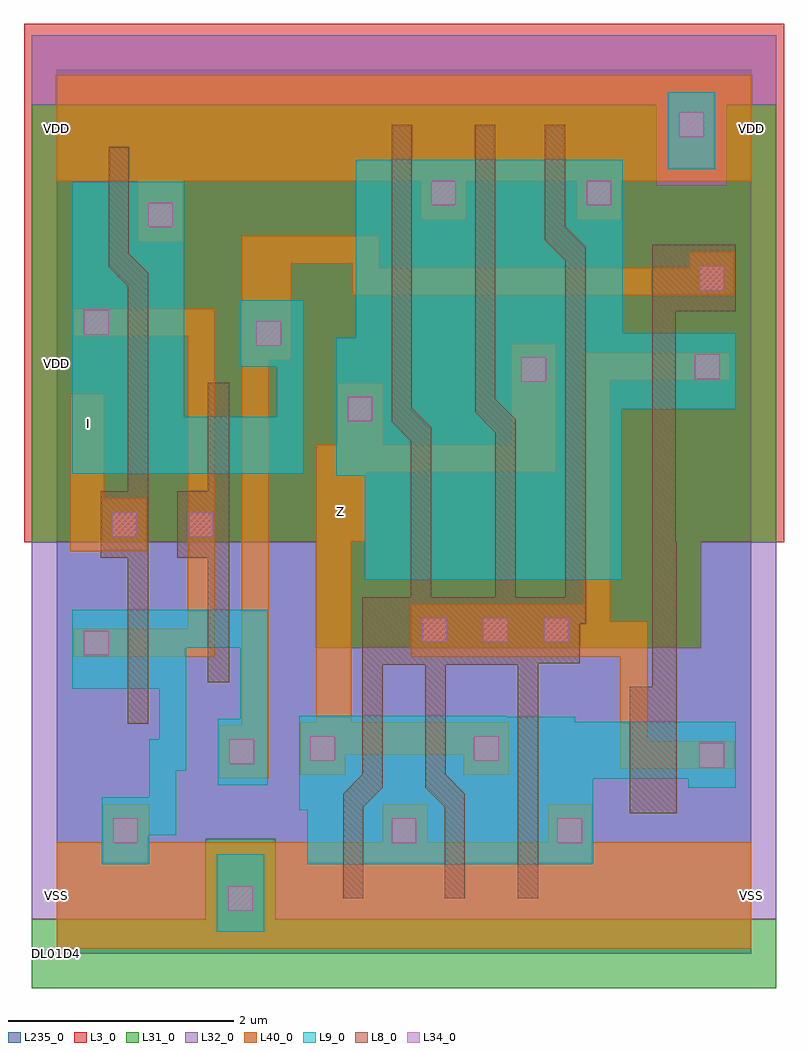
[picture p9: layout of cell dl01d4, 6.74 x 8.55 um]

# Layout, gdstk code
import gdstk
lib = gdstk.Library(unit=1e-6, precision=1e-09)
def R(c, l, rs):  # rectangles x0, y0, x1, y1
    for r in rs: c.add(gdstk.rectangle(r[:2], r[2:], *l))
def A(c, l, x, y, w, h, nx, ny, dx, dy):  # array of equal rectangles
    R(c, l, [(x+i*dx, y+j*dy, x+i*dx+w, y+j*dy+h) for i in range(nx) for j in range(ny)])
def P(c, l, *ps):  # polygons
    for p in ps: c.add(gdstk.Polygon(p, *l))
L3_0 = (3, 0)
L8_0 = (8, 0)
L9_0 = (9, 0)
L31_0 = (31, 0)
L32_0 = (32, 0)
L34_0 = (34, 0)
L40_0 = (40, 0)
L235_0 = (235, 0)

dl01d4 = lib.new_cell('dl01d4')
P(dl01d4, L3_0, [(6.45,8.245),(6.45,3.65),(5.71,3.65),(5.71,2.715),(2.3,2.715),(2.3,3.65),(-0.29,3.65),(-0.29,8.245)])
P(dl01d4, L8_0, [(2.72,1.3),(2.89,1.47),(2.89,2.56),(3.27,2.56),(3.27,1.47),(3.44,1.3),(3.44,0.49),(3.62,0.49),(3.62,1.42),(3.45,1.59),(3.45,2.56),(4.09,2.56),(4.09,0.49),(4.27,0.49),(4.27,2.575),(4.64,2.575),(4.64,2.925),(4.69,2.925),(4.69,6.27),(4.51,6.45),(4.51,7.35),(4.33,7.35),(4.33,6.325),(4.51,6.145),(4.51,3.16),(4.07,3.16),(4.07,4.74),(3.89,4.92),(3.89,7.35),(3.71,7.35),(3.71,4.8),(3.89,4.62),(3.89,3.16),(3.32,3.16),(3.32,4.67),(3.15,4.84),(3.15,7.35),(2.97,7.35),(2.97,4.715),(3.14,4.545),(3.14,3.16),(2.71,3.16),(2.71,1.59),(2.54,1.42),(2.54,0.49),(2.72,0.49)],
  [(0.81,6.04),(0.64,6.21),(0.64,7.15),(0.46,7.15),(0.46,6.09),(0.63,5.92),(0.63,4.1),(0.39,4.1),(0.39,3.51),(0.63,3.51),(0.63,2.04),(0.81,2.04)],
  [(5.5,3.65),(5.49,3.65),(5.49,5.695),(6.02,5.695),(6.02,6.285),(5.28,6.285),(5.28,2.365),(5.08,2.365),(5.08,1.245),(5.5,1.245)],
  [(1.53,5.065),(1.34,5.065),(1.34,4.1),(1.07,4.1),(1.07,3.51),(1.34,3.51),(1.34,2.405),(1.53,2.405)])
R(dl01d4, L9_0, [(1.42,0.195,1.84,0.88), (5.42,6.955,5.84,7.64)])
P(dl01d4, L9_0, [(3.99,2.11),(3.99,2.1),(4.6,2.1),(4.6,2.055),(6.02,2.055),(6.02,1.47),(5.6,1.47),(5.6,1.55),(4.76,1.55),(4.76,0.795),(2.22,0.795),(2.22,1.27),(2.15,1.27),(2.15,2.11)],
  [(1.87,3.05),(1.87,1.495),(1.43,1.495),(1.43,2.085),(1.63,2.085),(1.63,2.715),(1.15,2.715),(1.15,1.62),(1.06,1.62),(1.06,1.05),(0.82,1.05),(0.82,0.795),(0.4,0.795),(0.4,1.385),(0.82,1.385),(0.82,1.9),(0.91,1.9),(0.91,2.35),(0.14,2.35),(0.14,3.05)],
  [(1.13,6.845),(1.13,4.76),(1.95,4.76),(1.95,5.205),(1.63,5.205),(1.63,5.795),(2.19,5.795),(2.19,4.255),(0.14,4.255),(0.14,6.845)],
  [(5.02,7.04),(5.02,5.5),(6.02,5.5),(6.02,4.83),(5.01,4.83),(5.01,3.315),(2.73,3.315),(2.73,4.24),(2.48,4.24),(2.48,5.46),(2.65,5.46),(2.65,7.04)])
P(dl01d4, L31_0, [(1.94,1.02),(1.94,0.305),(6.38,0.305),(6.38,-0.305),(-0.22,-0.305),(-0.22,0.305),(1.32,0.305),(1.32,1.02)],
  [(6.38,7.53),(6.38,3.65),(5.71,3.65),(5.71,2.715),(2.3,2.715),(2.3,3.65),(-0.22,3.65),(-0.22,7.53),(5.32,7.53),(5.32,6.815),(5.94,6.815),(5.94,7.53)])
P(dl01d4, L32_0, [(6.38,3.65),(6.38,0.305),(1.94,0.305),(1.94,1.02),(1.32,1.02),(1.32,0.305),(-0.22,0.305),(-0.22,3.65),(2.3,3.65),(2.3,2.715),(5.71,2.715),(5.71,3.65)],
  [(6.38,8.145),(6.38,7.53),(5.94,7.53),(5.94,6.815),(5.32,6.815),(5.32,7.53),(-0.22,7.53),(-0.22,8.145)])
A(dl01d4, L34_0, 3.24, 2.76, 0.22, 0.22, 3, 1, 0.54, 0)
R(dl01d4, L34_0, [(1.52,0.38,1.74,0.6), (0.5,0.98,0.72,1.2), (2.97,0.98,3.19,1.2), (4.44,0.98,4.66,1.2), (5.7,1.65,5.92,1.87), (1.53,1.68,1.75,1.9), (2.25,1.71,2.47,1.93), (3.7,1.71,3.92,1.93), (0.24,2.645,0.46,2.865), (0.49,3.695,0.71,3.915), (1.17,3.695,1.39,3.915), (2.58,4.72,2.8,4.94), (4.12,5.07,4.34,5.29), (5.66,5.095,5.88,5.315), (1.77,5.39,1.99,5.61), (0.24,5.49,0.46,5.71), (5.7,5.88,5.92,6.1), (0.81,6.44,1.03,6.66), (3.32,6.635,3.54,6.855), (4.7,6.635,4.92,6.855), (5.52,7.24,5.74,7.46)])
P(dl01d4, L40_0, [(0,6.85),(0.72,6.85),(0.72,6.315),(1.12,6.315),(1.12,6.85),(3.23,6.85),(3.23,6.51),(3.63,6.51),(3.63,6.85),(4.61,6.85),(4.61,6.51),(5.01,6.51),(5.01,6.85),(6.16,6.85),(6.16,7.79),(0,7.79)],
  [(1.64,6.365),(1.64,2.025),(1.44,2.025),(1.44,1.555),(1.88,1.555),(1.88,5.265),(2.08,5.265),(2.08,6.12),(2.62,6.12),(2.62,5.84),(6.01,5.84),(6.01,6.225),(5.61,6.225),(5.61,6.085),(2.86,6.085),(2.86,6.365)],
  [(0.15,5.475),(1.16,5.475),(1.16,2.88),(0.15,2.88),(0.15,2.635),(1.4,2.635),(1.4,5.72),(0.15,5.72)],
  [(0.12,4.965),(0.12,3.57),(0.8,3.57),(0.8,4.04),(0.42,4.04),(0.42,4.965)],
  [(2.61,3.655),(2.74,3.655),(2.74,4.27),(4.43,4.27),(4.43,5.41),(4.03,5.41),(4.03,4.515),(2.89,4.515),(2.89,5.06),(2.49,5.06),(2.49,4.515),(2.3,4.515),(2.3,2.05),(2.16,2.05),(2.16,1.585),(2.56,1.585),(2.56,1.765),(3.61,1.765),(3.61,1.585),(4.01,1.585),(4.01,2.05),(2.61,2.05)],
  [(5.24,2.95),(4.91,2.95),(4.91,5.085),(5.97,5.085),(5.97,5.33),(4.67,5.33),(4.67,3.1),(3.14,3.1),(3.14,2.635),(5,2.635),(5,1.64),(6.01,1.64),(6.01,1.885),(5.24,1.885)],
  [(4.36,1.325),(4.36,0.99),(3.29,0.99),(3.29,1.325),(2.89,1.325),(2.89,0.99),(0.82,0.99),(0.82,1.325),(0.41,1.325),(0.41,0.99),(0,0.99),(0,0.045),(6.16,0.045),(6.16,0.99),(4.75,0.99),(4.75,1.325)])
R(dl01d4, L235_0, [(0,0,6.16,7.84)])
dl01d4.add(gdstk.Label('VDD', (0,5.23), layer=40, texttype=7))
dl01d4.add(gdstk.Label('VDD', (0,5.23), layer=40, texttype=7))
dl01d4.add(gdstk.Label('VDD', (0,5.23), layer=40, texttype=7))
dl01d4.add(gdstk.Label('VDD', (0,5.23), layer=40, texttype=7))
dl01d4.add(gdstk.Label('VDD', (0,5.23), layer=40, texttype=7))
dl01d4.add(gdstk.Label('Copyright (c) 2003, 2004 Synopsys, Inc.', (0,-2.24), layer=96, texttype=0))
dl01d4.add(gdstk.Label('DT. 13-Aug-2002 12:46:13', (0,-1.68), layer=96, texttype=0))
dl01d4.add(gdstk.Label('Rev. 2', (0,-1.12), layer=96, texttype=0))
dl01d4.add(gdstk.Label('NON INVERTING DELAY BUFFER WITH 1X DELAY, 4X DRIVE', (0,-0.56), layer=96, texttype=0))
dl01d4.add(gdstk.Label('DL01D4', (0,0), layer=96, texttype=0))
dl01d4.add(gdstk.Label('Z', (2.52,3.92), layer=40, texttype=7))
dl01d4.add(gdstk.Label('I', (0.28,4.7), layer=40, texttype=7))
dl01d4.add(gdstk.Label('VSS', (6.16,0.515), layer=40, texttype=7))
dl01d4.add(gdstk.Label('VDD', (6.16,7.32), layer=40, texttype=7))
dl01d4.add(gdstk.Label('VSS', (0,0.515), layer=40, texttype=7))
dl01d4.add(gdstk.Label('VDD', (0,7.32), layer=40, texttype=7))

lib.write_gds('dl01d4.gds')
